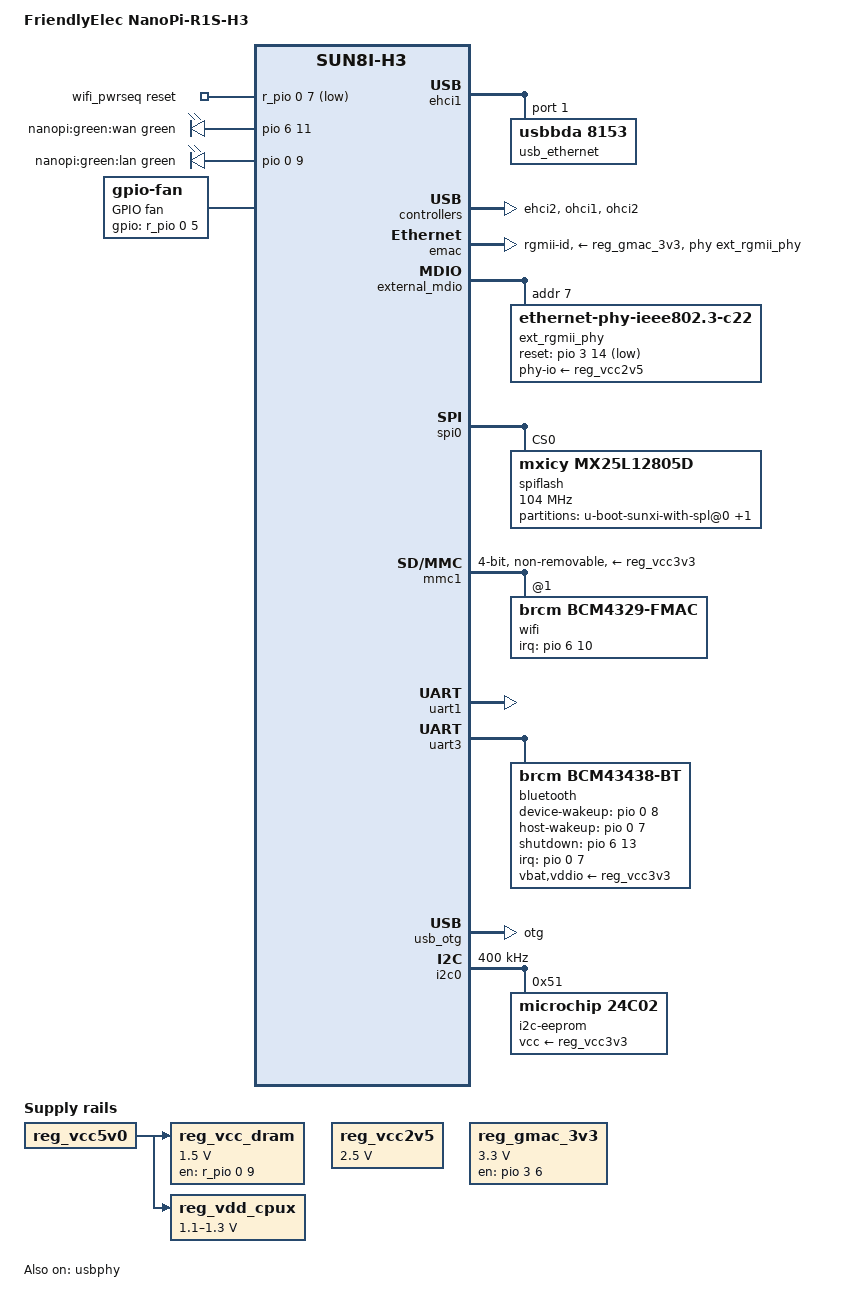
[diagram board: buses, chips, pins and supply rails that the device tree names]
// SPDX-License-Identifier: (GPL-2.0+ OR MIT)
/*
 * Copyright (C) 2019 Igor Pecovnik <igor@armbian.com>
 * Copyright (C) 2020 Jayantajit Gogoi <jayanta.gogoi525@gmail.com>
 * Copyright (C) 2020 Yu-Tung Chang <mtwget@gmail.com>
 * Copyright (C) 2023 Darsey Litzenberger <dlitz@dlitz.net>
*/

#include "sun8i-h3-nanopi.dtsi"
#include <dt-bindings/leds/common.h>

/* XXX FIXME(dlitz) For u-boot v2022.10 */
#ifndef CLK_OSC32K_FANOUT
# define CLK_OSC32K_FANOUT 1
#endif

/ {
	model = "FriendlyElec NanoPi-R1S-H3";
	compatible = "friendlyelec,nanopi-r1s-h3", "allwinner,sun8i-h3";

	aliases {
		serial1 = &uart1;
		ethernet0 = &emac;
		ethernet1 = &wifi;
		ethernet2 = &usb_ethernet;
	};

	reg_vcc_dram: vcc-dram {
		compatible = "regulator-fixed";
		regulator-name = "vcc-dram";
		regulator-min-microvolt = <1500000>;
		regulator-max-microvolt = <1500000>;
		regulator-always-on;
		regulator-boot-on;
		enable-active-high;
		gpio = <&r_pio 0 9 GPIO_ACTIVE_HIGH>; /* PL9 */
		vin-supply = <&reg_vcc5v0>;
	};

	reg_vcc2v5: vcc2v5 {
		compatible = "regulator-fixed";
		regulator-name = "vcc2v5";
		regulator-min-microvolt = <2500000>;
		regulator-max-microvolt = <2500000>;
	};

	reg_gmac_3v3: gmac-3v3 {
		compatible = "regulator-fixed";
		regulator-name = "gmac-3v3";
		regulator-min-microvolt = <3300000>;
		regulator-max-microvolt = <3300000>;
		startup-delay-us = <100000>;
		enable-active-high;
		gpio = <&pio 3 6 GPIO_ACTIVE_HIGH>; /* PD6 */
	};

	reg_vdd_cpux: gpio-regulator {
		compatible = "regulator-gpio";
		regulator-name = "vdd-cpux";
		regulator-type = "voltage";
		regulator-boot-on;
		regulator-always-on;
		regulator-min-microvolt = <1100000>;
		regulator-max-microvolt = <1300000>;
		regulator-ramp-delay = <50>;
		gpios = <&r_pio 0 6 GPIO_ACTIVE_HIGH>; /* PL6 */
		gpios-states = <0x1>;
		states = <1100000 0x0>,
			 <1300000 0x1>;
		vin-supply = <&reg_vcc5v0>;
	};

	wifi_pwrseq: wifi_pwrseq {
		compatible = "mmc-pwrseq-simple";
		reset-gpios = <&r_pio 0 7 GPIO_ACTIVE_LOW>; /* PL7 */
		clocks = <&rtc CLK_OSC32K_FANOUT>;
		clock-names = "ext_clock";
	};

	leds {
		led-0 {
			label = "nanopi:red:status";
			function = LED_FUNCTION_STATUS;
			color = <LED_COLOR_ID_RED>;
//			gpios = <&pio 0 10 GPIO_ACTIVE_HIGH>;	/* PA10 */
//			status = "disabled";	/* DEBUG FIXME(dlitz) */  
		};

		led-1 {
			status = "disabled";
		};


	/* DEBUG FIXME(dlitz) */  // Stealing WAN LED for gpio-fan
#if 1
		led-2 {
			label = "nanopi:green:wan";
			function = LED_FUNCTION_WAN;
			color = <LED_COLOR_ID_GREEN>;
			gpios = <&pio 6 11 GPIO_ACTIVE_HIGH>; /* PG11 */
		};

		led-3 {
			label = "nanopi:green:lan";
			function = LED_FUNCTION_LAN;
			color = <LED_COLOR_ID_GREEN>;
			gpios = <&pio 0 9 GPIO_ACTIVE_HIGH>; /* PA9 */
		};
#endif

		// TODO: SMT fan connector
			// DEBUG FIXME(dlitz) - This is the fan port
#if 0
		led-4 {
			label = "nanopi::fan";
			function = "fan";	// XXX LED_FUNCTION_*
			gpios = <&r_pio 0 5 GPIO_ACTIVE_HIGH>;	/* PL5 */
		};
#endif
	};

#if 0
	fan0: gpio_fan {
		compatible = "gpio-fan";
		label = "GPIO fan";
		//gpios = <&r_pio 0 5 GPIO_ACTIVE_HIGH>;	/* PL5 */
		gpios = <&pio 6 11 GPIO_ACTIVE_HIGH>, /* PG11 - WAN LED*/
			<&pio 0 9 GPIO_ACTIVE_HIGH>; /* PA9 - LAN LED*/
		#cooling-cells = <2>;
		gpio-fan,speed-map = <0 0>, <3000 1>, <6000 2>, <9000 3>;
		alarm-gpios = <&pio 0 10 GPIO_ACTIVE_HIGH>;	/* PA10 */
	};
#else
	fan0: gpio_fan {
		compatible = "gpio-fan";
		label = "GPIO fan";
		gpios = <&r_pio 0 5 GPIO_ACTIVE_HIGH>;	/* PL5 */
		#cooling-cells = <2>;
		gpio-fan,speed-map = <0 0>, <10000 1>;
	};
#endif


	reserved-memory {
		#address-cells = <1>;
		#size-cells = <1>;
#if 1
		brom {	/* entire bootrom */
			compatible = "nvmem-rmem";
			reg = <0xffff0000 0x10000>;
		};
#elif 0
		n-bootrom {	/* non-secure bootrom */
			compatible = "nvmem-rmem";
			reg = <0xffff0000 0x8000>;
		};
		s-bootrom {	/* "secure" bootrom (technically should overlap n-bootrom) */
			compatible = "nvmem-rmem";
			reg = <0xffff8000 0x8000>;
		};
#endif
	};

};

&cpu0 {
	cpu-supply = <&reg_vdd_cpux>;
};

&ehci1 {
	#address-cells = <1>;
	#size-cells = <0>;

	status = "okay";

	usb_ethernet: ethernet@1 {	/* hard-wired USB ethernet device */
		compatible = "usbbda,8153";
		reg = <1>;
	};
};

&ehci2 {
	status = "okay";
};

&emac {
	pinctrl-names = "default";
	pinctrl-0 = <&emac_rgmii_pins>;
	phy-supply = <&reg_gmac_3v3>;
	phy-handle = <&ext_rgmii_phy>;
	phy-mode = "rgmii-id";

	//nvmem-cells = <&eeprom_mac_address_writable>;
	//nvmem-cells = <&eeprom_mac_address>;
	//nvmem-cells = <&spi_mac_address>;
	//nvmem-cell-names = "mac-address";

	status = "okay";
};

&external_mdio {
	ext_rgmii_phy: ethernet-phy@7 {
		compatible = "ethernet-phy-ieee802.3-c22";
		reg = <7>;
		reset-gpios = <&pio 3 14 GPIO_ACTIVE_LOW>; /* PD14 */
		phy-io-supply = <&reg_vcc2v5>;	// Is this the correct spot?  Check for  [  +0.000235] dwmac-sun8i 1c30000.ethernet: supply phy-io not found, using dummy regulator
	};
};

// normally-unpopulated 8-SOIC footprint designated U14
&spi0 {
	status = "okay";

	spiflash: flash@0 {
		#address-cells = <1>;
		#size-cells = <1>;
		compatible = "mxicy,mx25l12805d", "jedec,spi-nor";
		reg = <0>;
		//status = "disabled";
		status = "okay";

		//vdd-supply = <&reg_vcc3v3>;	// DTC_CHK complains about this

		spi-max-frequency = <104000000>;
		m25p,fast-read;

		partitions {
			compatible = "fixed-partitions";
			#address-cells = <1>;
			#size-cells = <1>;

#if 0
			spl@0 {
				reg = <0x0 0x8000>;	/* 32KiB */
			};

			u-boot@8000 {
				reg = <0x8000 0xe8000>;	/* 928 KiB */
			};
#else
			u-boot-sunxi-with-spl@0 {
				reg = <0x0 0xf0000>;	/* 960 KiB */
			};
#endif

			u-boot-env@f0000 {
				reg = <0xf0000 0x10000>;	/* 64 KiB */
			};

// TODO: random-seed?

			//partition@1 {
			//partition-other {
			//other@8000 {
			/*
			art: art@8000 {
				compatible = "nvmem-cells";
				reg = <0x8000 0xff8000>;
				#address-cells = <1>;
				#size-cells = <1>;
				spi_mac_address: ethernet-address@0 {
					reg = <0x0 0x6>;
				};
			};
			*/
		};
	};
};

&mmc1 {
	vmmc-supply = <&reg_vcc3v3>;
	vqmmc-supply = <&reg_vcc3v3>;
	mmc-pwrseq = <&wifi_pwrseq>;
	bus-width = <4>;
	non-removable;
	status = "okay";

	/* compatible with rtl8189/ap6256 */
	wifi: wifi@1 {
		reg = <1>;
		compatible = "brcm,bcm4329-fmac";
		interrupt-parent = <&pio>;
		interrupts = <6 10 IRQ_TYPE_LEVEL_HIGH>; /* PG10 / EINT10 */
		// TODO(dlitz): Should the above be IRQ_TYPE_LEVEL_LOW like on other devices?
		interrupt-names = "host-wake";
	};
};

&ohci1 {
	status = "okay";
};

&ohci2 {
	status = "okay";
};

&uart1 {
	pinctrl-names = "default";
	pinctrl-0 = <&uart1_pins>;
	status = "okay";
};

&uart3 {
	pinctrl-names = "default";
	pinctrl-0 = <&uart3_pins>, <&uart3_rts_cts_pins>;
	uart-has-rtscts;
	status = "okay";

	bluetooth {
		compatible = "brcm,bcm43438-bt";
		clocks = <&rtc CLK_OSC32K_FANOUT>;
		clock-names = "lpo";
		vbat-supply = <&reg_vcc3v3>;
		vddio-supply = <&reg_vcc3v3>;
		device-wakeup-gpios = <&pio 0 8 GPIO_ACTIVE_HIGH>; /* PA8 */
		host-wakeup-gpios = <&pio 0 7 GPIO_ACTIVE_HIGH>; /* PA7 */  /* deprecated */
		shutdown-gpios = <&pio 6 13 GPIO_ACTIVE_HIGH>; /* PG13 */
		interrupt-parent = <&pio>;
		interrupts = <0 7 IRQ_TYPE_LEVEL_HIGH>; /* PA7 / EINT7 */
		interrupt-names = "host-wakeup";
	};
};

&usb_otg {
	status = "okay";
	dr_mode = "otg";
};

&usbphy {
	usb0_id_det-gpios = <&pio 6 12 GPIO_ACTIVE_HIGH>; /* PG12 */
	status = "okay";
};

&i2c0 {
	status = "okay";
	clock-frequency = <400000>;

	eeprom@51 {
		/* Microchip 24AA025E48T-I/OT */
		compatible = "microchip,24c02", "atmel,24c02";
		reg = <0x51>;
		pagesize = <16>;
		vcc-supply = <&reg_vcc3v3>;
		label = "i2c-eeprom";

		//read-only;
		#address-cells = <1>;
		#size-cells = <1>;

		eeprom_mac_address_writable: mac-address@0 {
			reg = <0x0 0x6>;
		};
		eeprom_mac_address: mac-address@fa {
			reg = <0xfa 0x6>;
		};
	};
};

&pio {
	vcc-pa-supply = <&reg_vcc3v3>;	// VCC_IO
	vcc-pc-supply = <&reg_vcc3v3>;	// VCC_IO
	vcc-pd-supply = <&reg_vcc2v5>;	// VCC_PD
	vcc-pe-supply = <&reg_vcc3v3>;	// VCC_IO
	vcc-pf-supply = <&reg_vcc3v3>;	// VCC_IO
	vcc-pg-supply = <&reg_vcc3v3>;	// VCC_PG
};

&r_pio {
	vcc-pl-supply = <&reg_vcc3v3>;	// VCC_IO
};

#if 1
&cpu_thermal {
	trips {
		cpu_less_warm_trip: cpu-warm {
			temperature = <25000>;
			hysteresis = <2000>;
			type = "active";
		};
		cpu_warm_trip: cpu-warm {
			temperature = <30000>;
			hysteresis = <2000>;
			type = "active";
		};
		cpu_warmer_trip: cpu-warm {
			temperature = <35000>;
			hysteresis = <2000>;
			type = "active";
		};
	};
	cooling-maps {
		cpu-hot-limit {
			contribution = <1>;
		};
		map0 {
			trip = <&cpu_less_warm_trip>;
			//cooling-device = <&fan0 THERMAL_NO_LIMIT THERMAL_NO_LIMIT>;
			cooling-device = <&fan0 1 1>;
			contribution = <1>;
		};
		map1 {
			trip = <&cpu_warm_trip>;
			//cooling-device = <&fan0 THERMAL_NO_LIMIT THERMAL_NO_LIMIT>;
			cooling-device = <&fan0 2 2>;
			contribution = <1>;
		};
		map2 {
			trip = <&cpu_warmer_trip>;
			//cooling-device = <&fan0 THERMAL_NO_LIMIT THERMAL_NO_LIMIT>;
			cooling-device = <&fan0 3 3>;
			contribution = <1>;
		};
	};
};
#endif
